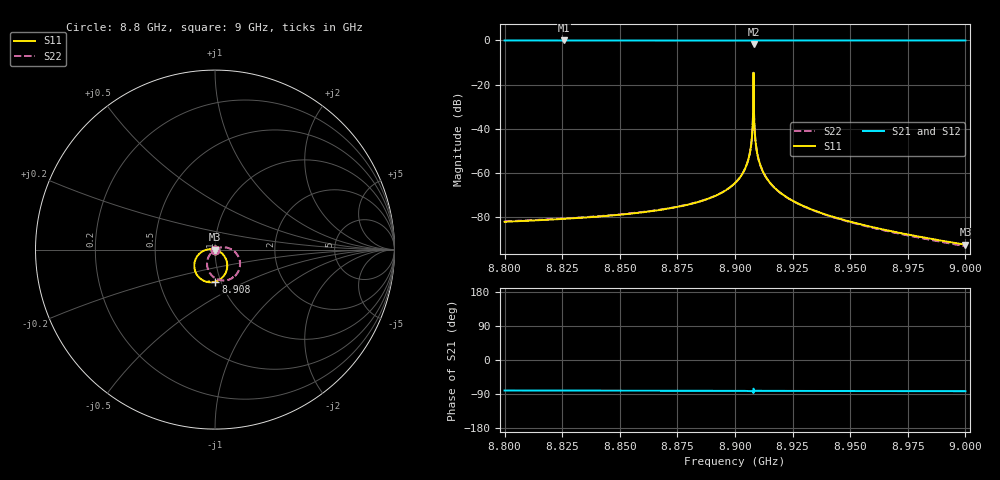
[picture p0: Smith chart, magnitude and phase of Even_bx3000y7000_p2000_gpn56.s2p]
! Sonnet Data File
! From: emgraph Version : 16.52
! From Project: Resonator2_cp_cp
! Data is De-embedded
! Data File Written: 10/06/2017 09:20:31
!< HDATE 10/05/2017 21:11:40
!< MDATE 10/05/2017 21:11:40
!< PARAMS
!< gap = 56.0
!< Length = 400.0
!< Pwid1 = 2000.0
!< Pwid2 = 2000.0
!< END PARAMS
# GHZ S MA R 51.80000
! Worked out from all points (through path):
!   1595 points, 8.8 GHz to 9 GHz, reference 51.8 ohm
!   highest |S21| = 0.00 dB at 8.8258 GHz (marker M1); lowest = -1.8 dB at 8.908 GHz (marker M2)
!   group delay of S21, straight-line fit = 25.1 ps
!   lowest |S11| = -92.5 dB at 9 GHz (marker M3), VSWR 1.00, Z = 51.8 + j0.000848 ohm
!   |S11| at or under -10 dB: start of sweep to end of sweep
!   |S22| runs from -93.2 to -14.6 dB; largest |S21 - S12| = 0
!   S11 on the Smith chart (normalised r, x): 8.8 GHz: 1.00, -0.00; 8.908 GHz: 0.94, -0.35; 9 GHz: 1.00, +0.00
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8.8  7.843e-05 -8.2  1 -80.5  1 -80.5  7.993e-05 30.3
!< P1 F=8.8 Eeff=(6.44679989 -2.9721e-5) Z0=(51.7992624 1.19519e-4) R=0.0 C=0.0
!< P2 F=8.8 Eeff=(6.44679989 -2.9721e-5) Z0=(51.7992624 1.19519e-4) R=0.0 C=0.0
8.8258  9.146e-05 -9.1  1 -80.7  1 -80.7  9.299e-05 30.3
8.8334  9.683e-05 -9.5  1 -80.8  1 -80.8  9.837e-05 30.4
8.8668  0.0001437 -11.4  1 -81.1  1 -81.1  0.0001453 30.9
8.8876  0.0002524 -12.9  1 -81.3  1 -81.3  0.0002541 31.2
8.9  0.0005892 -13.9  1 -81.4  1 -81.4  0.000591 31.2
8.904397  0.00126 -14.4  1 -81.5  1 -81.5  0.001262 31.0
8.906585  0.003099 -15.2  0.9999 -81.7  0.9999 -81.7  0.003101 30.4
8.907695  0.01271 -18.3  0.9992 -82.2  0.9992 -82.2  0.01271 27.3
8.90792  0.03457 -25.4  0.9939 -83.4  0.9939 -83.4  0.03457 20.2
8.908041  0.1784 -89.1  0.8291 -84.7  0.8291 -84.7  0.1784 -43.5
8.908047  0.1856 -103.8  0.8144 -81.6  0.8144 -81.6  0.1856 -58.2
8.908141  0.04641 -179.7  0.9893 -78.9  0.9893 -78.9  0.04641 -134.1
8.908264  0.02059 172.2  0.9979 -80.3  0.9979 -80.3  0.02059 -142.2
8.9088  0.005931 167.6  0.9998 -81.2  0.9998 -81.2  0.00593 -146.8
8.909818  0.002504 166.4  1 -81.4  1 -81.4  0.002502 -147.9
8.9118  0.001165 165.8  1 -81.5  1 -81.5  0.001163 -148.3
8.919  0.0003797 165.1  1 -81.6  1 -81.6  0.0003779 -148.6
8.9334  0.0001478 164.1  1 -81.7  1 -81.7  0.000146 -149.0
8.9434  9.837e-05 163.3  1 -81.8  1 -81.8  9.654e-05 -149.3
8.9668  4.923e-05 161.7  1 -82.0  1 -82.0  4.739e-05 -150.7
9  2.376e-05 159.8  1 -82.3  1 -82.3  2.199e-05 -155.0
